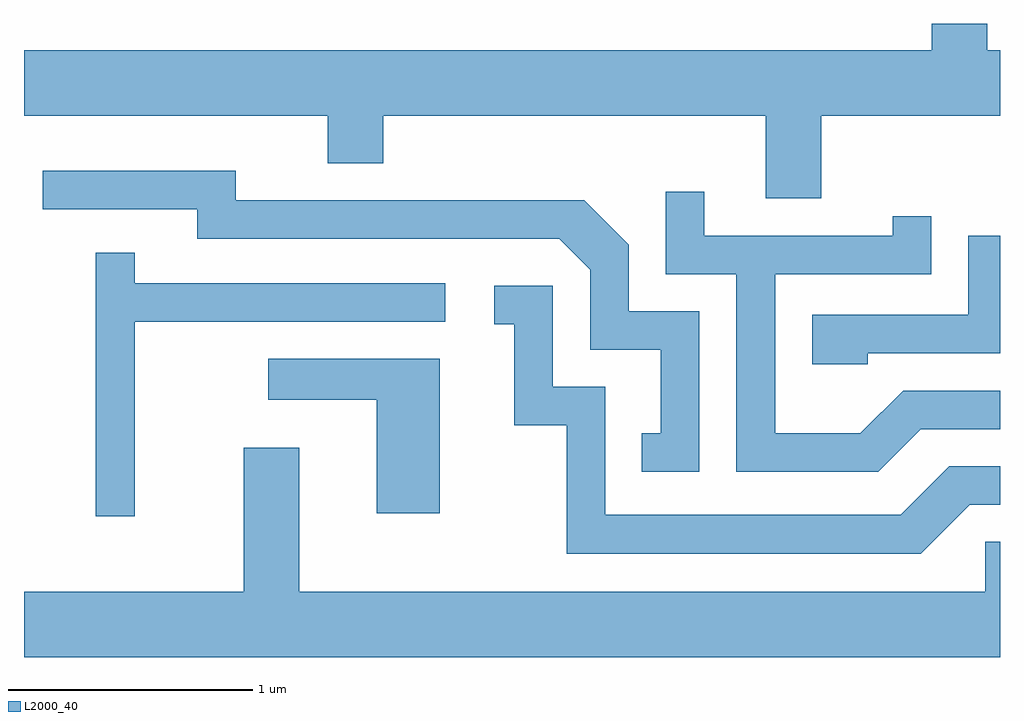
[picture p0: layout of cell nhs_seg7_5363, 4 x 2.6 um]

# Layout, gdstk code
import gdstk
lib = gdstk.Library(unit=1e-6, precision=1e-09)
def P(c, l, *ps):  # polygons
    for p in ps: c.add(gdstk.Polygon(p, *l))
L2000_40 = (2000, 40)

nhs_seg7_5363 = lib.new_cell('nhs_seg7_5363')
P(nhs_seg7_5363, L2000_40, [(352.879,1709.876),(353.611,1709.876),(353.611,1710.144),(353.559,1710.144),(353.559,1710.252),(353.331,1710.252),(353.331,1710.144),(349.611,1710.144),(349.611,1709.876),(350.856,1709.876),(350.856,1709.681),(351.084,1709.681),(351.084,1709.876),(352.651,1709.876),(352.651,1709.536),(352.879,1709.536)],
  [(352.379,1709.074),(352.089,1709.074),(352.089,1709.347),(351.907,1709.529),(350.479,1709.529),(350.479,1709.649),(349.688,1709.649),(349.688,1709.491),(350.321,1709.491),(350.321,1709.371),(351.804,1709.371),(351.931,1709.244),(351.931,1708.916),(352.221,1708.916),(352.221,1708.574),(352.143,1708.574),(352.143,1708.416),(352.379,1708.416)],
  [(353.287,1708.591),(353.611,1708.591),(353.611,1708.749),(353.214,1708.749),(353.039,1708.574),(352.689,1708.574),(352.689,1709.226),(353.329,1709.226),(353.329,1709.463),(353.171,1709.463),(353.171,1709.384),(352.399,1709.384),(352.399,1709.563),(352.241,1709.563),(352.241,1709.226),(352.531,1709.226),(352.531,1708.416),(353.112,1708.416)],
  [(353.069,1708.901),(353.611,1708.901),(353.611,1709.384),(353.481,1709.384),(353.481,1709.059),(352.841,1709.059),(352.841,1708.856),(353.069,1708.856)],
  [(350.064,1709.031),(351.338,1709.031),(351.338,1709.189),(350.064,1709.189),(350.064,1709.313),(349.906,1709.313),(349.906,1708.233),(350.064,1708.233)],
  [(353.487,1708.281),(353.611,1708.281),(353.611,1708.439),(353.404,1708.439),(353.204,1708.239),(351.994,1708.239),(351.994,1708.764),(351.779,1708.764),(351.779,1709.179),(351.538,1709.179),(351.538,1709.021),(351.621,1709.021),(351.621,1708.606),(351.836,1708.606),(351.836,1708.081),(353.287,1708.081)],
  [(351.314,1708.879),(350.613,1708.879),(350.613,1708.711),(351.056,1708.711),(351.056,1708.246),(351.314,1708.246)],
  [(353.611,1708.129),(353.551,1708.129),(353.551,1707.924),(350.739,1707.924),(350.739,1708.514),(350.511,1708.514),(350.511,1707.924),(349.611,1707.924),(349.611,1707.656),(353.611,1707.656)])

lib.write_gds('nhs_seg7_5363.gds')
